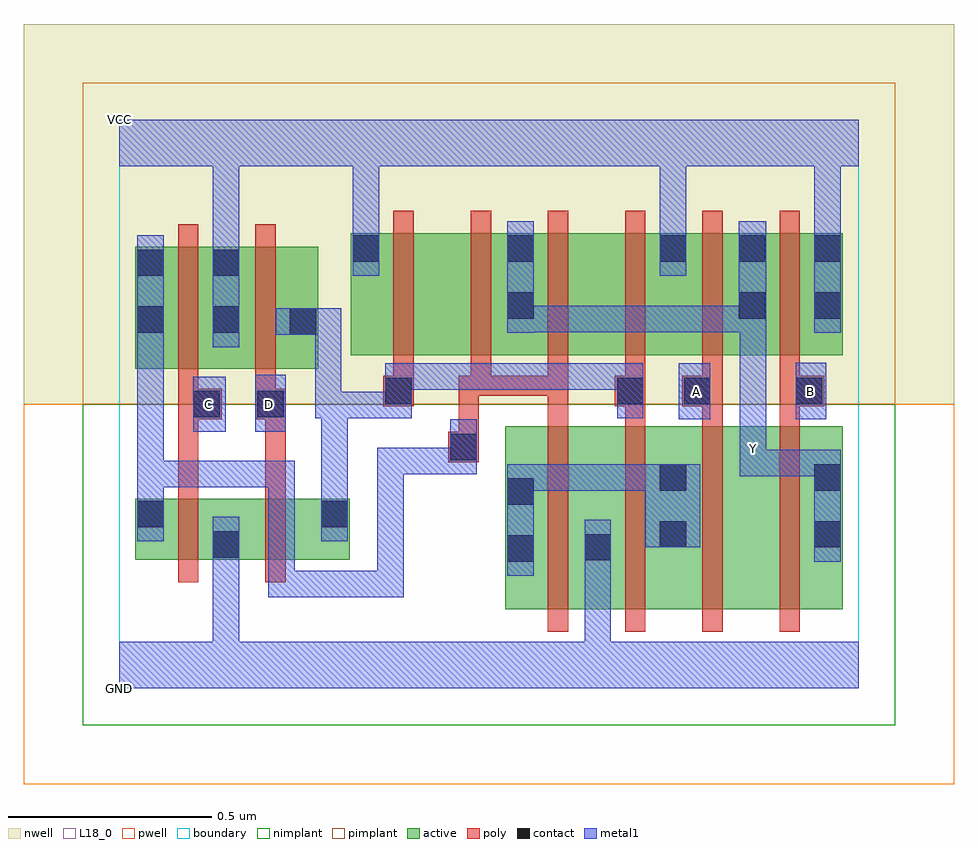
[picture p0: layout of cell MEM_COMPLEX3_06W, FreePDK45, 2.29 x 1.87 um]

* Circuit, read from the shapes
.subckt MEM_COMPLEX3_06W A B C D GND VCC Y
M1 GND C n1 VSUBS nfet w=0.15u l=0.05u
M2 n2 D GND VSUBS nfet w=0.15u l=0.05u
M3 GND n1 n3 VSUBS nfet w=0.45u l=0.05u
M4 n3 n2 GND VSUBS nfet w=0.45u l=0.05u
M5 n4 A n3 VSUBS nfet w=0.45u l=0.05u
M6 Y B n4 VSUBS nfet w=0.45u l=0.05u
M7 VCC C n1 n5 pfet w=0.3u l=0.05u
M8 n2 D VCC n5 pfet w=0.3u l=0.05u
M9 n6 n2 VCC n5 pfet w=0.3u l=0.05u
M10 Y n1 n6 n5 pfet w=0.3u l=0.05u
M11 n7 n1 Y n5 pfet w=0.3u l=0.05u
M12 VCC n2 n7 n5 pfet w=0.3u l=0.05u
M13 Y A VCC n5 pfet w=0.3u l=0.05u
M14 VCC B Y n5 pfet w=0.3u l=0.05u
.ends

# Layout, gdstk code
import gdstk
lib = gdstk.Library(unit=1e-6, precision=1e-09)
def R(c, l, rs):  # rectangles x0, y0, x1, y1
    for r in rs: c.add(gdstk.rectangle(r[:2], r[2:], *l))
def A(c, l, x, y, w, h, nx, ny, dx, dy):  # array of equal rectangles
    R(c, l, [(x+i*dx, y+j*dy, x+i*dx+w, y+j*dy+h) for i in range(nx) for j in range(ny)])
active = (1, 0)
pwell = (2, 0)
nwell = (3, 0)
nimplant = (4, 0)
pimplant = (5, 0)
poly = (9, 0)
contact = (10, 0)
metal1 = (11, 0)
L18_0 = (18, 0)
boundary = (235, 0)

mem_complex3_06w = lib.new_cell('MEM_COMPLEX3_06W')
R(mem_complex3_06w, active, [(0.95,0.195,1.025,0.645), (0.95,0.195,1.215,0.645), (1.14,0.195,1.4,0.645), (1.14,0.195,1.215,0.542), (1.325,0.195,1.4,0.645), (1.325,0.195,1.555,0.645), (1.555,0.195,1.78,0.645), (1.705,0.195,1.78,0.645), (0.04,0.317,0.3,0.467), (0.04,0.317,0.115,0.467), (0.225,0.317,0.567,0.467), (0.225,0.317,0.3,0.392), (0.492,0.33,0.567,0.467), (0.04,0.787,0.115,1.087), (0.04,0.787,0.3,1.087), (0.225,0.787,0.3,1.087), (0.225,0.787,0.49,1.087), (0.415,0.787,0.49,1.055), (0.57,0.82,0.645,1.12), (0.57,0.82,0.795,1.12), (0.795,0.82,1.025,1.12), (0.95,0.82,1.025,1.12), (0.95,0.82,1.175,1.12), (1.175,0.82,1.4,1.12), (1.325,0.82,1.595,1.12), (1.52,0.82,1.595,1.12), (1.52,0.82,1.78,1.12), (1.705,0.82,1.78,1.12), (1.325,1.007,1.4,1.12)])
R(mem_complex3_06w, pwell, [(-0.235,-0.235,2.055,0.7)])
R(mem_complex3_06w, nwell, [(-0.235,0.7,2.055,1.635)])
R(mem_complex3_06w, nimplant, [(-0.09,-0.09,1.91,0.7)])
R(mem_complex3_06w, pimplant, [(-0.09,0.7,1.91,1.49)])
A(mem_complex3_06w, poly, 1.055, 0.14, 0.05, 0.56, 4, 1, 0.19, 0)
A(mem_complex3_06w, poly, 1.245, 0.65, 0.05, 0.095, 3, 1, 0.19, 0)
A(mem_complex3_06w, poly, 0.675, 0.72, 0.05, 0.095, 6, 1, 0.19, 0)
A(mem_complex3_06w, poly, 0.675, 0.765, 0.05, 0.41, 6, 1, 0.19, 0)
R(mem_complex3_06w, poly, [(0.145,0.262,0.195,0.522), (0.36,0.262,0.41,0.522), (0.145,0.472,0.195,0.712), (0.36,0.472,0.41,0.712), (0.81,0.557,0.885,0.632), (0.835,0.582,0.885,0.77), (1.055,0.65,1.105,0.77), (0.145,0.662,0.252,0.737), (0.335,0.662,0.41,0.737), (0.145,0.687,0.195,0.782), (0.335,0.687,0.385,0.782), (0.65,0.695,0.725,0.77), (1.22,0.695,1.295,0.77), (1.385,0.695,1.485,0.77), (1.625,0.695,1.735,0.77), (0.835,0.72,0.9,0.77), (0.85,0.72,0.9,0.77), (0.85,0.72,0.915,0.77), (0.865,0.72,1.105,0.77), (1.055,0.72,1.105,0.77), (1.055,0.72,1.105,0.77), (1.055,0.72,1.105,0.77), (0.145,0.732,0.195,1.142), (0.335,0.732,0.385,1.142)])
R(mem_complex3_06w, contact, [(0.955,0.312,1.02,0.377), (1.145,0.315,1.21,0.38), (0.23,0.322,0.295,0.387), (1.33,0.347,1.395,0.412), (1.71,0.347,1.775,0.412), (0.045,0.397,0.11,0.462), (0.497,0.397,0.562,0.462), (0.955,0.452,1.02,0.517), (1.33,0.487,1.395,0.552), (1.71,0.487,1.775,0.552), (0.815,0.562,0.88,0.627), (0.182,0.667,0.247,0.732), (0.34,0.667,0.405,0.732), (0.655,0.7,0.72,0.765), (1.225,0.7,1.29,0.765), (1.39,0.7,1.455,0.765), (1.665,0.7,1.73,0.765), (0.42,0.87,0.485,0.935), (0.045,0.875,0.11,0.94), (0.23,0.875,0.295,0.94), (0.955,0.91,1.02,0.975), (1.525,0.91,1.59,0.975), (1.71,0.91,1.775,0.975), (0.045,1.015,0.11,1.08), (0.23,1.015,0.295,1.08), (0.575,1.05,0.64,1.115), (0.955,1.05,1.02,1.115), (1.33,1.05,1.395,1.115), (1.525,1.05,1.59,1.115), (1.71,1.05,1.775,1.115)])
R(mem_complex3_06w, metal1, [(0,0,1.82,0.115), (0.23,0.05,0.295,0.115), (0.23,0.05,0.295,0.115), (0.23,0.05,0.295,0.115), (0.23,0.05,0.295,0.115), (0.23,0.05,0.295,0.115), (0.23,0.05,0.295,0.115), (0.23,0.05,0.295,0.352), (1.145,0.05,1.21,0.115), (1.145,0.05,1.21,0.115), (1.145,0.05,1.21,0.345), (0.367,0.225,0.432,0.29), (0.367,0.225,0.432,0.29), (0.367,0.225,0.432,0.29), (0.367,0.225,0.7,0.29), (0.367,0.225,0.432,0.56), (0.635,0.225,0.7,0.29), (0.635,0.225,0.7,0.592), (0.955,0.277,1.02,0.552), (1.145,0.28,1.21,0.415), (0.23,0.287,0.295,0.422), (1.71,0.312,1.775,0.587), (1.295,0.347,1.43,0.552), (0.045,0.362,0.11,0.497), (0.497,0.362,0.562,0.497), (0.045,0.432,0.11,0.497), (0.045,0.432,0.11,0.497), (0.045,0.432,0.11,0.497), (0.045,0.432,0.11,0.56), (0.045,0.432,0.11,0.905), (0.497,0.432,0.562,0.73), (0.955,0.487,1.02,0.552), (0.955,0.487,1.02,0.552), (0.955,0.487,1.157,0.552), (1.092,0.487,1.157,0.552), (1.092,0.487,1.157,0.552), (1.092,0.487,1.157,0.552), (1.092,0.487,1.36,0.552), (0.045,0.495,0.247,0.56), (0.182,0.495,0.247,0.56), (0.182,0.495,0.432,0.56), (0.367,0.495,0.432,0.56), (1.527,0.522,1.592,0.587), (1.527,0.522,1.592,0.587), (1.527,0.522,1.775,0.587), (1.527,0.522,1.592,0.657), (1.71,0.522,1.775,0.587), (1.71,0.522,1.775,0.587), (0.635,0.527,0.7,0.592), (0.635,0.527,0.7,0.592), (0.635,0.527,0.7,0.592), (0.635,0.527,0.88,0.592), (0.815,0.527,0.88,0.592), (0.815,0.527,0.88,0.592), (0.815,0.527,0.88,0.592), (0.815,0.527,0.88,0.592), (0.815,0.527,0.88,0.662), (1.527,0.592,1.592,0.94), (0.182,0.632,0.262,0.767), (0.335,0.632,0.41,0.772), (1.377,0.662,1.455,0.8), (1.665,0.662,1.74,0.802), (0.482,0.665,0.547,0.935), (0.482,0.665,0.562,0.73), (0.497,0.665,0.72,0.73), (0.655,0.665,0.72,0.73), (0.655,0.665,0.72,0.73), (0.655,0.665,0.72,0.8), (1.225,0.665,1.29,0.8), (0.655,0.735,0.882,0.8), (0.817,0.735,0.882,0.8), (0.817,0.735,0.882,0.8), (0.817,0.735,0.882,0.8), (0.817,0.735,1.02,0.8), (0.955,0.735,1.02,0.8), (0.955,0.735,1.02,0.8), (0.955,0.735,1.02,0.8), (0.955,0.735,1.222,0.8), (1.157,0.735,1.222,0.8), (1.157,0.735,1.29,0.8), (0.045,0.84,0.11,1.115), (0.23,0.84,0.295,1.115), (0.385,0.87,0.547,0.935), (0.955,0.875,1.02,1.15), (1.525,0.875,1.592,1.15), (1.71,0.875,1.775,1.15), (0.955,0.877,1.02,0.942), (0.955,0.877,1.02,0.942), (0.955,0.877,1.157,0.942), (1.092,0.877,1.157,0.942), (1.092,0.877,1.157,0.942), (1.092,0.877,1.157,0.942), (1.092,0.877,1.36,0.942), (1.295,0.877,1.36,0.942), (1.295,0.877,1.59,0.942), (1.525,0.877,1.59,0.942), (1.525,0.877,1.59,0.942), (0.575,1.015,0.64,1.15), (1.33,1.015,1.395,1.15), (0.23,1.05,0.295,1.115), (0.23,1.05,0.295,1.115), (0.23,1.05,0.295,1.35), (0.575,1.085,0.64,1.15), (0.575,1.085,0.64,1.15), (0.575,1.085,0.64,1.35), (1.33,1.085,1.395,1.35), (1.71,1.085,1.775,1.15), (1.71,1.085,1.775,1.15), (1.71,1.085,1.775,1.35), (0,1.285,1.82,1.4), (1.33,1.285,1.395,1.35), (1.33,1.285,1.395,1.35)])
R(mem_complex3_06w, L18_0, [(0,0,1.82,0.115), (0.23,0.05,0.295,0.115), (0.23,0.05,0.295,0.115), (0.23,0.05,0.295,0.115), (0.23,0.05,0.295,0.115), (0.23,0.05,0.295,0.115), (0.23,0.05,0.295,0.115), (0.23,0.05,0.295,0.352), (1.145,0.05,1.21,0.115), (1.145,0.05,1.21,0.115), (1.145,0.05,1.21,0.345), (1.145,0.28,1.21,0.415), (0.23,0.287,0.295,0.422), (1.71,0.312,1.775,0.587), (1.527,0.522,1.592,0.587), (1.527,0.522,1.592,0.587), (1.527,0.522,1.592,0.657), (1.527,0.522,1.775,0.587), (1.71,0.522,1.775,0.587), (1.71,0.522,1.775,0.587), (1.527,0.557,1.592,0.622), (1.527,0.592,1.592,0.94), (0.182,0.632,0.262,0.767), (0.335,0.632,0.41,0.772), (1.377,0.662,1.455,0.8), (1.665,0.662,1.74,0.802), (0.187,0.667,0.252,0.732), (0.337,0.667,0.402,0.732), (1.387,0.697,1.452,0.762), (1.667,0.697,1.732,0.762), (0.23,0.84,0.295,1.115), (0.955,0.875,1.02,1.15), (1.525,0.875,1.592,1.15), (1.71,0.875,1.775,1.15), (0.955,0.877,1.02,0.942), (0.955,0.877,1.02,0.942), (0.955,0.877,1.157,0.942), (1.092,0.877,1.157,0.942), (1.092,0.877,1.157,0.942), (1.092,0.877,1.157,0.942), (1.092,0.877,1.36,0.942), (1.295,0.877,1.36,0.942), (1.295,0.877,1.59,0.942), (1.525,0.877,1.59,0.942), (1.525,0.877,1.59,0.942), (0.575,1.015,0.64,1.15), (1.33,1.015,1.395,1.15), (0.23,1.05,0.295,1.115), (0.23,1.05,0.295,1.115), (0.23,1.05,0.295,1.35), (0.575,1.085,0.64,1.15), (0.575,1.085,0.64,1.15), (0.575,1.085,0.64,1.35), (1.33,1.085,1.395,1.35), (1.71,1.085,1.775,1.15), (1.71,1.085,1.775,1.15), (1.71,1.085,1.775,1.35), (0,1.285,1.82,1.4), (1.33,1.285,1.395,1.35), (1.33,1.285,1.395,1.35)])
R(mem_complex3_06w, boundary, [(0,0,1.82,1.4)])
mem_complex3_06w.add(gdstk.Label('A', (1.42,0.73), layer=11, texttype=0))
mem_complex3_06w.add(gdstk.Label('B', (1.7,0.73), layer=11, texttype=0))
mem_complex3_06w.add(gdstk.Label('C', (0.22,0.7), layer=11, texttype=0))
mem_complex3_06w.add(gdstk.Label('D', (0.37,0.7), layer=11, texttype=0))
mem_complex3_06w.add(gdstk.Label('Y', (1.56,0.59), layer=11, texttype=0))
mem_complex3_06w.add(gdstk.Label('VCC', (0,1.4), layer=11, texttype=0))
mem_complex3_06w.add(gdstk.Label('GND', (0,0), layer=11, texttype=0))

lib.write_gds('MEM_COMPLEX3_06W.gds')
